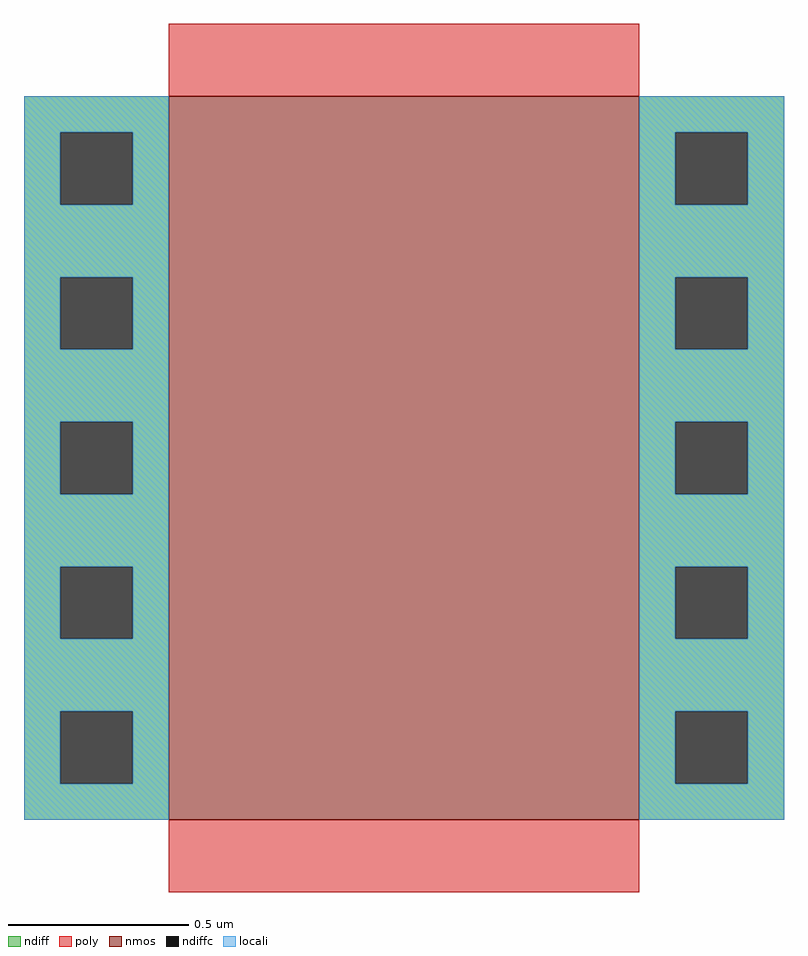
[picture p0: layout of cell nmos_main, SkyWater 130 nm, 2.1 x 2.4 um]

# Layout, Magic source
magic
tech sky130A
<< nmos >>
rect 0 0 130 200
<< ndiff >>
rect -40 190 0 200
rect -40 170 -30 190
rect -10 170 0 190
rect -40 150 0 170
rect -40 130 -30 150
rect -10 130 0 150
rect -40 110 0 130
rect -40 90 -30 110
rect -10 90 0 110
rect -40 70 0 90
rect -40 50 -30 70
rect -10 50 0 70
rect -40 30 0 50
rect -40 10 -30 30
rect -10 10 0 30
rect -40 0 0 10
rect 130 190 170 200
rect 130 170 140 190
rect 160 170 170 190
rect 130 150 170 170
rect 130 130 140 150
rect 160 130 170 150
rect 130 110 170 130
rect 130 90 140 110
rect 160 90 170 110
rect 130 70 170 90
rect 130 50 140 70
rect 160 50 170 70
rect 130 30 170 50
rect 130 10 140 30
rect 160 10 170 30
rect 130 0 170 10
<< ndiffc >>
rect -30 170 -10 190
rect -30 130 -10 150
rect -30 90 -10 110
rect -30 50 -10 70
rect -30 10 -10 30
rect 140 170 160 190
rect 140 130 160 150
rect 140 90 160 110
rect 140 50 160 70
rect 140 10 160 30
<< poly >>
rect 0 200 130 220
rect 0 -20 130 0
<< locali >>
rect -40 190 0 200
rect -40 170 -30 190
rect -10 170 0 190
rect -40 150 0 170
rect -40 130 -30 150
rect -10 130 0 150
rect -40 110 0 130
rect -40 90 -30 110
rect -10 90 0 110
rect -40 70 0 90
rect -40 50 -30 70
rect -10 50 0 70
rect -40 30 0 50
rect -40 10 -30 30
rect -10 10 0 30
rect -40 0 0 10
rect 130 190 170 200
rect 130 170 140 190
rect 160 170 170 190
rect 130 150 170 170
rect 130 130 140 150
rect 160 130 170 150
rect 130 110 170 130
rect 130 90 140 110
rect 160 90 170 110
rect 130 70 170 90
rect 130 50 140 70
rect 160 50 170 70
rect 130 30 170 50
rect 130 10 140 30
rect 160 10 170 30
rect 130 0 170 10
<< end >>
